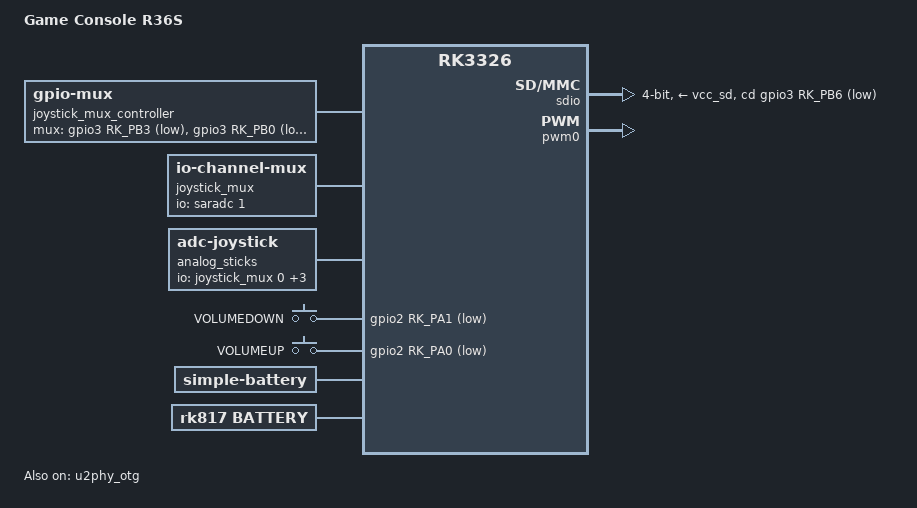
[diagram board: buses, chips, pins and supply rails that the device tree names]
// SPDX-License-Identifier: (GPL-2.0+ OR MIT)
/*
 * Arch R - Game Console R36S device tree for kernel 6.6
 *
 * Based on rk3326-odroid-go.dtsi (proven kernel 6.6 base)
 * Joypad adapted from EatPrilosec R36S DTS (odroidgo3-joypad → adc-joystick)
 * Panel init from R36S-DTB Panel 4 V22 (simple-panel-dsi + panel-init-sequence)
 *
 * Copyright (C) 2024-2025 Arch R Project
 * Copyright (C) 2022-24 JELOS (joypad layout reference)
 */

/dts-v1/;
#include "rk3326-odroid-go.dtsi"

/ {
	model = "Game Console R36S";
	compatible = "gameconsole,r35s", "gameconsole,r36s", "rockchip,rk3326";

	aliases {
		mmc0 = &sdio;   /* R36S internal SD (SDIO controller) */
		mmc1 = &sdmmc;  /* R36S external SD */
	};

	/*
	 * ADC mux for dual analog sticks
	 * Same hardware as ODROID GO Super: GPIO mux selects between
	 * 4 analog axes via single SARADC channel 1
	 */
	joystick_mux_controller: mux-controller {
		compatible = "gpio-mux";
		pinctrl = <&mux_en_pins>;
		#mux-control-cells = <0>;
		mux-gpios = <&gpio3 RK_PB3 GPIO_ACTIVE_LOW>,
			    <&gpio3 RK_PB0 GPIO_ACTIVE_LOW>;
	};

	joystick_mux: adc-mux {
		compatible = "io-channel-mux";
		io-channels = <&saradc 1>;
		io-channel-names = "parent";
		#io-channel-cells = <1>;
		mux-controls = <&joystick_mux_controller>;
		channels = "0", "1", "2", "3";
	};

	analog_sticks: adc-joystick {
		compatible = "adc-joystick";
		io-channels = <&joystick_mux 0>,
			      <&joystick_mux 1>,
			      <&joystick_mux 2>,
			      <&joystick_mux 3>;
		poll-interval = <60>;
		#address-cells = <1>;
		#size-cells = <0>;

		/* Left stick X: inverted on R36S (abs-range swapped) */
		axis@0 {
			reg = <0>;
			abs-flat = <10>;
			abs-fuzz = <10>;
			abs-range = <800 180>;
			linux,code = <ABS_X>;
		};

		/* Right stick X: normal */
		axis@1 {
			reg = <1>;
			abs-flat = <10>;
			abs-fuzz = <10>;
			abs-range = <180 800>;
			linux,code = <ABS_RX>;
		};

		/* Left stick Y: inverted on R36S (abs-range swapped) */
		axis@2 {
			reg = <2>;
			abs-flat = <10>;
			abs-fuzz = <10>;
			abs-range = <800 180>;
			linux,code = <ABS_Y>;
		};

		/* Right stick Y: normal */
		axis@3 {
			reg = <3>;
			abs-flat = <10>;
			abs-fuzz = <10>;
			abs-range = <180 800>;
			linux,code = <ABS_RY>;
		};
	};

	/* Volume buttons (separate from gamepad) */
	gpio-keys-vol {
		compatible = "gpio-keys";
		autorepeat;
		pinctrl-0 = <&btn_pins_vol>;
		pinctrl-names = "default";

		button-vol-down {
			gpios = <&gpio2 RK_PA1 GPIO_ACTIVE_LOW>;
			label = "VOLUMEDOWN";
			linux,code = <KEY_VOLUMEDOWN>;
		};

		button-volume-up {
			gpios = <&gpio2 RK_PA0 GPIO_ACTIVE_LOW>;
			label = "VOLUMEUP";
			linux,code = <KEY_VOLUMEUP>;
		};
	};

	/* Battery: R36S has 3200mAh (vs 4000mAh on ODROID GO Super) */
	battery: battery {
		compatible = "simple-battery";
		charge-full-design-microamp-hours = <3200000>;
		charge-term-current-microamp = <320000>;
		constant-charge-current-max-microamp = <2000000>;
		constant-charge-voltage-max-microvolt = <4200000>;
		factory-internal-resistance-micro-ohms = <180000>;
		voltage-max-design-microvolt = <4100000>;
		voltage-min-design-microvolt = <3500000>;

		ocv-capacity-celsius = <20>;
		ocv-capacity-table-0 =  <4046950 100>, <4001920 95>, <3967900 90>, <3919950 85>,
					<3888450 80>, <3861850 75>, <3831540 70>, <3799130 65>,
					<3768190 60>, <3745650 55>, <3726610 50>, <3711630 45>,
					<3696720 40>, <3685660 35>, <3674950 30>, <3663050 25>,
					<3649470 20>, <3635260 15>, <3616920 10>, <3592440 5>,
					<3574170 0>;
	};

	/* ============================================================
	 * Sound card: fix for BSP rk817 codec (kernel 6.6)
	 *
	 * Problem 1 (DAI mismatch): Base DTSI has sound-dai = <&rk817>.
	 * Adding compatible="rockchip,rk817-codec" causes MFD to assign
	 * the child's own of_node → codec registers under &rk817_codec,
	 * not &rk817 → ASoC DAI mismatch → "deferred probe pending".
	 * Fix: point sound-dai to the codec sub-node directly.
	 *
	 * Problem 2 (DAPM routing): Base DTSI defines routing referencing
	 * DAPM widgets MICL, HPOL, HPOR, SPKO. But the BSP rk817 codec
	 * driver does NOT register any DAPM widgets — it uses "Playback
	 * Path" / "Capture MIC Path" ALSA enums for path switching.
	 * → "Failed to add route" → card registration fails.
	 * Fix: remove routing and widgets (not used by BSP codec).
	 *
	 * Problem 3 (DAPM unknown pin): hp-det-gpio makes simple-audio-card
	 * create a "Headphones" DAPM jack pin. With widgets deleted,
	 * DAPM can't find the pin → "DAPM unknown pin Headphones".
	 * Fix: keep hp-det-gpio (needed for SW_HEADPHONE_INSERT events
	 * used by archr-hotkeys daemon) but re-add JUST the Headphone
	 * widget (no routing — BSP codec uses Playback Path enum).
	 * ============================================================ */
	rk817-sound {
		/delete-property/ simple-audio-card,routing;
		simple-audio-card,widgets = "Headphone", "Headphones";
		simple-audio-card,hp-det-gpio = <&gpio2 RK_PC6 GPIO_ACTIVE_LOW>;
		simple-audio-card,codec {
			sound-dai = <&rk817_codec>;
		};
	};
};

/* ============================================================
 * Remove ODROID-specific nodes not present on R36S
 * ============================================================ */
/delete-node/ &gpio_led;   /* R36S has no status LEDs */
/delete-node/ &pwm_led;    /* R36S has no PWM LED */
/* vcc_host regulator kept — needed for USB OTG VBUS power (GPIO0 PB7) */

/* Replace ODROID F1-F6 buttons with R36S-specific mapping */
/delete-node/ &btn_f1;     /* GPIO2 PA0 → volume down (separate node) */
/delete-node/ &btn_f2;     /* GPIO2 PA1 → volume up (separate node) */
/delete-node/ &btn_f3;     /* GPIO2 PA2 → BTN_THUMBL */
/delete-node/ &btn_f4;     /* GPIO2 PA3 → BTN_THUMBR */
/delete-node/ &btn_f5;     /* GPIO2 PA4 → BTN_MODE */
/delete-node/ &btn_f6;     /* GPIO2 PA5 → unused on R36S */

/* ============================================================
 * R36S gamepad buttons
 * Base (rk3326-odroid-go.dtsi) already has: DPAD, ABXY, TL, TR
 * We add: THUMBL, THUMBR, MODE, SELECT, START, TL2, TR2
 * ============================================================ */
&builtin_gamepad {
	button-thumbl {
		gpios = <&gpio2 RK_PA2 GPIO_ACTIVE_LOW>;
		label = "BTN_THUMBL";
		linux,code = <BTN_THUMBL>;
	};

	button-thumbr {
		gpios = <&gpio2 RK_PA3 GPIO_ACTIVE_LOW>;
		label = "BTN_THUMBR";
		linux,code = <BTN_THUMBR>;
	};

	button-mode {
		gpios = <&gpio2 RK_PA4 GPIO_ACTIVE_LOW>;
		label = "BTN_MODE";
		linux,code = <BTN_MODE>;
	};

	button-select {
		gpios = <&gpio3 RK_PB1 GPIO_ACTIVE_LOW>;
		label = "SELECT";
		linux,code = <BTN_SELECT>;
	};

	button-start {
		gpios = <&gpio3 RK_PB4 GPIO_ACTIVE_LOW>;
		label = "START";
		linux,code = <BTN_START>;
	};

	button-tl2 {
		gpios = <&gpio3 RK_PB2 GPIO_ACTIVE_LOW>;
		label = "TOP-LEFT 2";
		linux,code = <BTN_TL2>;
	};

	button-tr2 {
		gpios = <&gpio3 RK_PB7 GPIO_ACTIVE_LOW>;
		label = "TOP-RIGHT 2";
		linux,code = <BTN_TR2>;
	};
};

/* ============================================================
 * Panel: R36S 3.5" 640x480 MIPI-DSI (Panel 4 V22 default)
 * Uses archr,generic-dsi driver with panel_description strings.
 * All panel config (init, timings, delays) in panel_description.
 * For other panels: overlay replaces panel_description property.
 * ============================================================ */
&internal_display {
	compatible = "archr,generic-dsi";
	reset-gpios = <&gpio3 RK_PC0 GPIO_ACTIVE_LOW>;
	iovcc-supply = <&vcc_lcd>;
	vdd-supply = <&vcc_lcd>;
	backlight = <&backlight>;

	panel_description =
		"G size=52,70 delays=20,150,20,120,0 format=rgb888 lanes=4 flags=0xa03",
		"M clock=58000 horizontal=640,300,200,300 vertical=480,17,5,13 default=1",
		"I dcs=0xff data=30",
		"I dcs=0xff data=52",
		"I dcs=0xff data=01",
		"I dcs=0xe3 data=00",
		"I dcs=0x25 data=10",
		"I dcs=0x28 data=6f",
		"I dcs=0x29 data=01",
		"I dcs=0x2a data=df",
		"I dcs=0x2c data=22",
		"I dcs=0xc3 data=0f",
		"I dcs=0x37 data=9c",
		"I dcs=0x38 data=a7",
		"I dcs=0x39 data=41",
		"I dcs=0x80 data=20",
		"I dcs=0x91 data=67",
		"I dcs=0x92 data=67",
		"I dcs=0xa0 data=55",
		"I dcs=0xa1 data=50",
		"I dcs=0xa3 data=58",
		"I dcs=0xa4 data=9c",
		"I dcs=0xa7 data=02",
		"I dcs=0xa8 data=01",
		"I dcs=0xa9 data=21",
		"I dcs=0xaa data=fc",
		"I dcs=0xab data=28",
		"I dcs=0xac data=06",
		"I dcs=0xad data=06",
		"I dcs=0xae data=06",
		"I dcs=0xaf data=03",
		"I dcs=0xb0 data=08",
		"I dcs=0xb1 data=26",
		"I dcs=0xb2 data=28",
		"I dcs=0xb3 data=28",
		"I dcs=0xb4 data=03",
		"I dcs=0xb5 data=08",
		"I dcs=0xb6 data=26",
		"I dcs=0xb7 data=08",
		"I dcs=0xb8 data=26",
		"I dcs=0x2c data=22",
		"I dcs=0x5c data=40",
		"I dcs=0xc0 data=00",
		"I dcs=0xc1 data=00",
		"I dcs=0xc2 data=00",
		"I dcs=0xff data=30",
		"I dcs=0xff data=52",
		"I dcs=0xff data=02",
		"I dcs=0xb0 data=02",
		"I dcs=0xd0 data=02",
		"I dcs=0xb1 data=0f",
		"I dcs=0xd1 data=10",
		"I dcs=0xb2 data=11",
		"I dcs=0xd2 data=12",
		"I dcs=0xb3 data=32",
		"I dcs=0xd3 data=33",
		"I dcs=0xb4 data=36",
		"I dcs=0xd4 data=36",
		"I dcs=0xb5 data=3c",
		"I dcs=0xd5 data=3c",
		"I dcs=0xb6 data=20",
		"I dcs=0xd6 data=20",
		"I dcs=0xb7 data=3e",
		"I dcs=0xd7 data=3e",
		"I dcs=0xb8 data=0e",
		"I dcs=0xd8 data=0d",
		"I dcs=0xb9 data=05",
		"I dcs=0xd9 data=05",
		"I dcs=0xba data=11",
		"I dcs=0xda data=12",
		"I dcs=0xbb data=11",
		"I dcs=0xdb data=11",
		"I dcs=0xbc data=13",
		"I dcs=0xdc data=14",
		"I dcs=0xbd data=14",
		"I dcs=0xdd data=14",
		"I dcs=0xbe data=16",
		"I dcs=0xde data=18",
		"I dcs=0xbf data=0e",
		"I dcs=0xdf data=0f",
		"I dcs=0xc0 data=17",
		"I dcs=0xe0 data=17",
		"I dcs=0xc1 data=07",
		"I dcs=0xe1 data=08",
		"I dcs=0xff data=30",
		"I dcs=0xff data=52",
		"I dcs=0xff data=03",
		"I dcs=0x08 data=8a",
		"I dcs=0x09 data=8b",
		"I dcs=0x30 data=00",
		"I dcs=0x31 data=00",
		"I dcs=0x32 data=00",
		"I dcs=0x33 data=00",
		"I dcs=0x34 data=61",
		"I dcs=0x35 data=d4",
		"I dcs=0x36 data=24",
		"I dcs=0x37 data=03",
		"I dcs=0x40 data=86",
		"I dcs=0x41 data=87",
		"I dcs=0x42 data=84",
		"I dcs=0x43 data=85",
		"I dcs=0x44 data=11",
		"I dcs=0x45 data=de",
		"I dcs=0x46 data=dd",
		"I dcs=0x47 data=11",
		"I dcs=0x48 data=e0",
		"I dcs=0x49 data=df",
		"I dcs=0x50 data=82",
		"I dcs=0x51 data=83",
		"I dcs=0x52 data=80",
		"I dcs=0x53 data=81",
		"I dcs=0x54 data=11",
		"I dcs=0x55 data=e2",
		"I dcs=0x56 data=e1",
		"I dcs=0x57 data=11",
		"I dcs=0x58 data=e4",
		"I dcs=0x59 data=e3",
		"I dcs=0x82 data=0f",
		"I dcs=0x83 data=0f",
		"I dcs=0x84 data=00",
		"I dcs=0x85 data=0f",
		"I dcs=0x86 data=0f",
		"I dcs=0x87 data=0e",
		"I dcs=0x88 data=0e",
		"I dcs=0x89 data=06",
		"I dcs=0x8a data=06",
		"I dcs=0x8b data=07",
		"I dcs=0x8c data=07",
		"I dcs=0x8d data=04",
		"I dcs=0x8e data=04",
		"I dcs=0x8f data=05",
		"I dcs=0x90 data=05",
		"I dcs=0x98 data=0f",
		"I dcs=0x99 data=0f",
		"I dcs=0x9a data=00",
		"I dcs=0x9b data=0f",
		"I dcs=0x9c data=0f",
		"I dcs=0x9d data=0e",
		"I dcs=0x9e data=0e",
		"I dcs=0x9f data=06",
		"I dcs=0xa0 data=06",
		"I dcs=0xa1 data=07",
		"I dcs=0xa2 data=07",
		"I dcs=0xa3 data=04",
		"I dcs=0xa4 data=04",
		"I dcs=0xa5 data=05",
		"I dcs=0xa6 data=05",
		"I dcs=0xe0 data=02",
		"I dcs=0xe1 data=52",
		"I dcs=0xff data=30",
		"I dcs=0xff data=52",
		"I dcs=0xff data=00",
		"I dcs=0x36 data=02",
		"I dcs=0x11 wait=200",
		"I dcs=0x29 wait=20";
};

/* ============================================================
 * PMIC: system-power-controller for shutdown/reboot
 * NOTE: Only rockchip,system-power-controller is safe here.
 * The full pinctrl_rk8xx sub-node with sleep/poweroff/reset
 * states causes kernel panic on RK3326 ("Attempted to kill
 * the idle task!") — the pinctrl-rk805 driver crashes during
 * early MFD probe. Shutdown still works via the basic
 * system-power-controller property.
 * ============================================================ */
&rk817 {
	rockchip,system-power-controller;

	battery {
		compatible = "rk817,battery";
		ocv_table = <3574 3592 3617 3635 3649 3663 3675
			     3686 3697 3712 3727 3746 3768 3799
			     3832 3862 3888 3920 3968 4002 4047>;
		design_capacity = <3200>;
		design_qmax = <3520>;
		bat_res = <100>;
		sleep_enter_current = <300>;
		sleep_exit_current = <300>;
		sleep_filter_current = <100>;
		power_off_thresd = <3400>;
		monitor_sec = <5>;
		sample_res = <10>;
		virtual_power = <0>;
		charge_stay_awake = <0>;
		fake_full_soc = <100>;
		nominal_voltage = <3800>;
	};
};

/* ============================================================
 * USB OTG: Enable PHY for keyboard/controller via OTG port
 * (Disabled in ODROID Go base — R36S needs it for USB devices)
 * ============================================================ */
&u2phy_otg {
	status = "okay";
};

/* ============================================================
 * Second SD card slot (R36S internal SD via SDIO controller)
 * ============================================================ */
&sdio {
	bus-width = <4>;
	cap-sd-highspeed;
	card-detect-delay = <800>;
	cd-gpios = <&gpio3 RK_PB6 GPIO_ACTIVE_LOW>;
	disable-wp;
	sd-uhs-sdr12;
	sd-uhs-sdr25;
	sd-uhs-sdr50;
	sd-uhs-sdr104;
	vmmc-supply = <&vcc_sd>;
	vqmmc-supply = <&vccio_sd>;
	status = "okay";
};

/* PWM0 for rumble motor (active but no motor on R36S — harmless) */
&pwm0 {
	status = "okay";
};

/* ============================================================
 * Backlight: PWM IS working (inverted polarity = black screen).
 * Normal polarity (flag=0) is correct for R36S backlight circuit.
 * brightness-levels gives explicit 0-255 mapping (max=255).
 * default-brightness-level=200 → ~78% at boot.
 * ============================================================ */
&backlight {
	brightness-levels = <
		  0   1   2   3   4   5   6   7
		  8   9  10  11  12  13  14  15
		 16  17  18  19  20  21  22  23
		 24  25  26  27  28  29  30  31
		 32  33  34  35  36  37  38  39
		 40  41  42  43  44  45  46  47
		 48  49  50  51  52  53  54  55
		 56  57  58  59  60  61  62  63
		 64  65  66  67  68  69  70  71
		 72  73  74  75  76  77  78  79
		 80  81  82  83  84  85  86  87
		 88  89  90  91  92  93  94  95
		 96  97  98  99 100 101 102 103
		104 105 106 107 108 109 110 111
		112 113 114 115 116 117 118 119
		120 121 122 123 124 125 126 127
		128 129 130 131 132 133 134 135
		136 137 138 139 140 141 142 143
		144 145 146 147 148 149 150 151
		152 153 154 155 156 157 158 159
		160 161 162 163 164 165 166 167
		168 169 170 171 172 173 174 175
		176 177 178 179 180 181 182 183
		184 185 186 187 188 189 190 191
		192 193 194 195 196 197 198 199
		200 201 202 203 204 205 206 207
		208 209 210 211 212 213 214 215
		216 217 218 219 220 221 222 223
		224 225 226 227 228 229 230 231
		232 233 234 235 236 237 238 239
		240 241 242 243 244 245 246 247
		248 249 250 251 252 253 254 255>;
	default-brightness-level = <200>;
};

/* ============================================================
 * Pinctrl overrides for R36S button layout
 * ============================================================ */
&pinctrl {
	btns {
		btn_pins: btn-pins {
			rockchip,pins = <1 RK_PA2 RK_FUNC_GPIO &pcfg_pull_up>,
					<1 RK_PA5 RK_FUNC_GPIO &pcfg_pull_up>,
					<1 RK_PA6 RK_FUNC_GPIO &pcfg_pull_up>,
					<1 RK_PA7 RK_FUNC_GPIO &pcfg_pull_up>,
					<1 RK_PB4 RK_FUNC_GPIO &pcfg_pull_up>,
					<1 RK_PB5 RK_FUNC_GPIO &pcfg_pull_up>,
					<1 RK_PB6 RK_FUNC_GPIO &pcfg_pull_up>,
					<1 RK_PB7 RK_FUNC_GPIO &pcfg_pull_up>,
					<2 RK_PA2 RK_FUNC_GPIO &pcfg_pull_up>,
					<2 RK_PA3 RK_FUNC_GPIO &pcfg_pull_up>,
					<2 RK_PA4 RK_FUNC_GPIO &pcfg_pull_up>,
					<2 RK_PA6 RK_FUNC_GPIO &pcfg_pull_up>,
					<2 RK_PA7 RK_FUNC_GPIO &pcfg_pull_up>,
					<3 RK_PB1 RK_FUNC_GPIO &pcfg_pull_up>,
					<3 RK_PB2 RK_FUNC_GPIO &pcfg_pull_up>,
					<3 RK_PB4 RK_FUNC_GPIO &pcfg_pull_up>,
					<3 RK_PB7 RK_FUNC_GPIO &pcfg_pull_up>;
		};
		btn_pins_vol: btn-pins-vol {
			rockchip,pins = <2 RK_PA0 RK_FUNC_GPIO &pcfg_pull_up>,
					<2 RK_PA1 RK_FUNC_GPIO &pcfg_pull_up>;
		};
	};

	joystick {
		mux_en_pins: mux-pins {
			rockchip,pins = <3 RK_PB5 RK_FUNC_GPIO &pcfg_output_low>;
		};
	};
};

/* Remove SPI flash (not present on R36S) */
&sfc {
	status = "disabled";
};

/* ============================================================
 * RK817 sub-device compatible strings
 * The MFD driver (rk808.c) needs compatible strings to bind
 * of_node to each sub-device. Without them, devm_of_find_child()
 * fails → "Failed to locate of_node [id: -1]" for battery,
 * charger, and codec (= no audio, no battery monitoring).
 * ============================================================ */
/* R36S charger: must use extcon path (CONFIG_DWC_OTG_310 not enabled,
 * so rk_bc_detect_notifier_register() always returns -EINVAL).
 * extcon = <&u2phy> bypasses USB BC detection entirely. */
&rk817_charger {
	compatible = "rk817,charger";
	monitored-battery = <&battery>;
	extcon = <&u2phy>;
	min_input_voltage = <4500>;
	max_input_current = <1500>;
	max_chrg_current = <2000>;
	max_chrg_voltage = <4200>;
	chrg_term_mode = <0>;
	chrg_finish_cur = <300>;
	virtual_power = <0>;
	power_dc2otg = <0>;
	sample_res = <10>;
	otg5v_suspend_enable = <1>;
	gate_function_disable = <0>;
	dc_det_adc = <0>;
};

/* rk817 codec: needs explicit mclk clock (devm_clk_get looks at sub-device
 * node, NOT parent PMIC node). Without this: "Unable to get mclk" → no audio.
 * SCLK_I2S1_OUT = I2S1 master clock output to codec via GPIO0_PA0 (i2s1_2ch_mclk).
 *
 * NOTE: Do NOT add pinctrl-0 = <&i2s1_2ch_mclk> here! The parent &rk817 node
 * in rk3326-odroid-go.dtsi already requests this pin. Adding it again on the
 * codec sub-device causes: "pin gpio2-19 already requested by 0-0020"
 *
 * #sound-dai-cells needed because the rk817-sound card now references this
 * node directly (not the parent &rk817). See sound card override below.
 *
 * Speaker amplifier: R36S has an external speaker amp enabled via GPIO3 PC4.
 * The BSP rk817_codec.c reads spk-ctl-gpios and asserts it when Playback
 * Path = SPK. Without this, the amp stays off and no sound reaches the speaker.
 *
 * CRITICAL: use-ext-amplifier tells the codec driver that SPK output goes through
 * an external amplifier connected to the HP/line outputs (DACL/DACR), NOT through
 * the internal Class-D amplifier. Without this property, the driver sets:
 *   ADAC_CFG1 = DACBIAS_ON | DACD_ON | DACL_DOWN | DACR_DOWN (line outputs OFF!)
 * With this property, it correctly sets:
 *   ADAC_CFG1 = DACBIAS_ON | DACD_DOWN | DACL_ON | DACR_ON (line outputs ON!)
 * Reference: dArkOS/arkos sauce04 DTS (original R36S Panel 4 V22). */
&rk817_codec {
	compatible = "rockchip,rk817-codec";
	clocks = <&cru SCLK_I2S1_OUT>;
	clock-names = "mclk";
	#sound-dai-cells = <0>;
	spk-ctl-gpios = <&gpio3 RK_PC4 GPIO_ACTIVE_HIGH>;
	use-ext-amplifier;
	spk-mute-delay-ms = <50>;
	spk-volume = <3>;
	hp-volume = <20>;
};

/* ============================================================
 * CPU frequency unlock for R36S — Full 1512MHz
 *
 * dArkOS approach: instead of deleting scaling properties (which
 * causes black screen due to broken volt_sel selection and
 * system_monitor interaction), add rockchip,avs = <1>.
 *
 * How it works:
 *   - Default avs=0 (AVS_DELETE_OPP) → disables OPPs above safe_rate
 *   - avs=1 (AVS_SCALING_RATE) → uses avs_scale(4) check instead
 *   - opp_scale for 1512MHz >> avs_scale(4) → exits early
 *   - Result: ALL OPPs remain enabled (408-1512MHz)
 *
 * All other properties (bin-scaling-sel, pvtm-*, evb-irdrop,
 * max-volt) are kept intact. PVTM properly selects the Lx voltage
 * variant, system_monitor low-temp handling works correctly,
 * and max-volt clamps low-temp voltages to safe values.
 *
 * Confirmed by dArkOS DTB analysis (R36S-V20 2025-05-18):
 *   rockchip,avs = <0x01>;  (AVS_SCALING_RATE)
 *   All scaling properties kept, 1512MHz enabled, runs fine.
 *
 * vdd_arm (DCDC_REG2) supports up to 1350mV.
 * ============================================================ */
&cpu0_opp_table {
	rockchip,avs = <1>;
};

/* Enable DRAM 786MHz OPP (disabled by default in px30.dtsi).
 * 666MHz → 786MHz = ~18% more memory bandwidth.
 * vdd_logic supports up to 1175mV (786MHz needs 1100mV). */
&dmc_opp_table {
	opp-786000000 {
		status = "okay";
	};
};

/* GPU 520MHz: Already defined in rk3326.dtsi (include chain:
 * r36s.dts → odroid-go.dtsi → rk3326.dtsi → px30.dtsi).
 * rk3326.dtsi adds opp-520000000 at 1175mV to gpu_opp_table.
 *
 * Problem: vdd_logic (DCDC_REG1) max was 1150mV — 25mV short.
 * Fix: Increase regulator max to 1175mV (RK817 DCDC1 supports
 * up to 1.4V, so 1175mV is well within spec).
 * For PVTM bins L1-L3, voltage is 1050-1150mV (no change needed).
 * NPLL=1040MHz / divider=2 = 520MHz (exact PLL match). */
&vdd_logic {
	regulator-max-microvolt = <1175000>;
};

/* GPU overclock: 600MHz at same voltage as 520MHz (no overvolt).
 * ARM Mali-G31 IP supports 650-800MHz, but RK3326 vdd_logic
 * caps at 1175mV. Instead of overvolting, we keep 1175mV and
 * test if the silicon can sustain higher clocks — same principle
 * as PC GPU undervolting. 560MHz confirmed stable (Feb 14 2026).
 * 520→600MHz = +15.4% GPU performance at zero voltage increase. */
&gpu_opp_table {
	opp-600000000 {
		opp-hz = /bits/ 64 <600000000>;
		opp-microvolt = <1175000 1175000 1175000>;
		opp-microvolt-L0 = <1175000 1175000 1175000>;
		opp-microvolt-L1 = <1175000 1175000 1175000>;
		opp-microvolt-L2 = <1125000 1125000 1175000>;
		opp-microvolt-L3 = <1075000 1075000 1175000>;
	};
};

/*
 * Fix GPU interrupt-names: Rockchip BSP px30.dtsi uses UPPERCASE ("GPU","MMU","JOB")
 * but Panfrost driver uses platform_get_irq_byname() with lowercase ("gpu","mmu","job").
 * strcmp() is case-sensitive → probe fails with -ENODEV without this fix.
 * Order matches BSP: SPI45=GPU, SPI46=MMU, SPI47=JOB (same physical mapping as mainline).
 */
&gpu {
	interrupt-names = "gpu", "mmu", "job";
};
